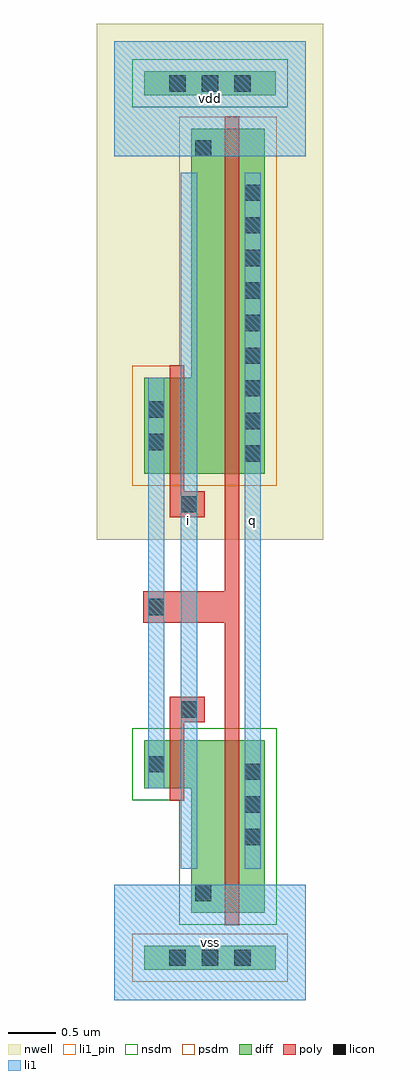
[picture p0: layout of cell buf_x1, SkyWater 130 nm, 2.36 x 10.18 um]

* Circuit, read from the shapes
.subckt buf_x1 i q vdd vss
XM1 vss i n1 VSUBS sky130_fd_pr__nfet_01v8 w=0.5 l=0.15
XM2 q n1 vss VSUBS sky130_fd_pr__nfet_01v8 w=1.8 l=0.15
XM3 vdd i n1 n2 sky130_fd_pr__pfet_01v8 w=1 l=0.15
XM4 q n1 vdd n2 sky130_fd_pr__pfet_01v8 w=3.6 l=0.15
.ends

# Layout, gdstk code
import gdstk
lib = gdstk.Library(unit=1e-6, precision=1e-09)
def R(c, l, rs):  # rectangles x0, y0, x1, y1
    for r in rs: c.add(gdstk.rectangle(r[:2], r[2:], *l))
def A(c, l, x, y, w, h, nx, ny, dx, dy):  # array of equal rectangles
    R(c, l, [(x+i*dx, y+j*dy, x+i*dx+w, y+j*dy+h) for i in range(nx) for j in range(ny)])
def P(c, l, *ps):  # polygons
    for p in ps: c.add(gdstk.Polygon(p, *l))
nwell = (64, 20)
diff = (65, 20)
poly = (66, 20)
licon = (66, 44)
li1_pin = (67, 16)
li1 = (67, 20)
nsdm = (93, 44)
psdm = (94, 20)

buf_x1 = lib.new_cell('buf_x1')
R(buf_x1, nwell, [(-0.18,4.8,2.18,10.18)])
R(buf_x1, diff, [(0.315,0.315,1.685,0.565), (0.315,9.435,1.685,9.685)])
P(buf_x1, diff, [(0.805,0.91),(0.805,2.21),(0.315,2.21),(0.315,2.71),(1.57,2.71),(1.57,0.91)],
  [(0.315,5.49),(0.315,6.49),(0.805,6.49),(0.805,9.09),(1.57,9.09),(1.57,5.49)])
P(buf_x1, poly, [(0.58,2.08),(0.58,3.165),(0.945,3.165),(0.945,2.895),(0.73,2.895),(0.73,2.08)],
  [(0.58,5.035),(0.58,6.62),(0.73,6.62),(0.73,5.305),(0.945,5.305),(0.945,5.035)],
  [(1.155,0.78),(1.155,3.935),(0.305,3.935),(0.305,4.265),(1.155,4.265),(1.155,9.22),(1.305,9.22),(1.305,0.78)])
A(buf_x1, licon, 0.575, 0.355, 0.17, 0.17, 3, 2, 0.34, 9.12)
A(buf_x1, licon, 1.36, 1.615, 0.17, 0.17, 1, 3, 0, 0.34)
A(buf_x1, licon, 1.36, 5.615, 0.17, 0.17, 1, 9, 0, 0.34)
R(buf_x1, licon, [(0.845,1.03,1.015,1.2), (0.355,2.375,0.525,2.545), (0.695,2.945,0.865,3.115), (0.355,4.015,0.525,4.185), (0.695,5.085,0.865,5.255), (0.355,5.735,0.525,5.905), (0.355,6.075,0.525,6.245), (0.845,8.8,1.015,8.97)])
R(buf_x1, li1_pin, [(0,0,2,1.2), (0.695,1.37,0.865,8.63), (1.36,1.37,1.53,8.63), (0,8.8,2,10)])
R(buf_x1, li1, [(0,0,2,1.2), (0.695,1.37,0.865,8.63), (1.36,1.37,1.53,8.63), (0.355,2.21,0.525,6.49), (0,8.8,2,10)])
R(buf_x1, nsdm, [(0.19,9.31,1.81,9.81)])
P(buf_x1, nsdm, [(0.68,0.785),(0.68,2.085),(0.19,2.085),(0.19,2.835),(1.695,2.835),(1.695,0.785)])
R(buf_x1, psdm, [(0.19,0.19,1.81,0.69)])
P(buf_x1, psdm, [(0.19,5.365),(0.19,6.615),(0.68,6.615),(0.68,9.215),(1.695,9.215),(1.695,5.365)])
buf_x1.add(gdstk.Label('vdd', (1,9.4), layer=67, texttype=16))
buf_x1.add(gdstk.Label('vss', (1,0.6), layer=67, texttype=16))
buf_x1.add(gdstk.Label('i', (0.78,5), layer=67, texttype=16))
buf_x1.add(gdstk.Label('q', (1.445,5), layer=67, texttype=16))
buf_x1.add(gdstk.Label('vdd', (1,9.4), layer=67, texttype=16))
buf_x1.add(gdstk.Label('vss', (1,0.6), layer=67, texttype=16))
buf_x1.add(gdstk.Label('i', (0.78,5), layer=67, texttype=16))
buf_x1.add(gdstk.Label('q', (1.445,5), layer=67, texttype=16))

lib.write_gds('buf_x1.gds')
